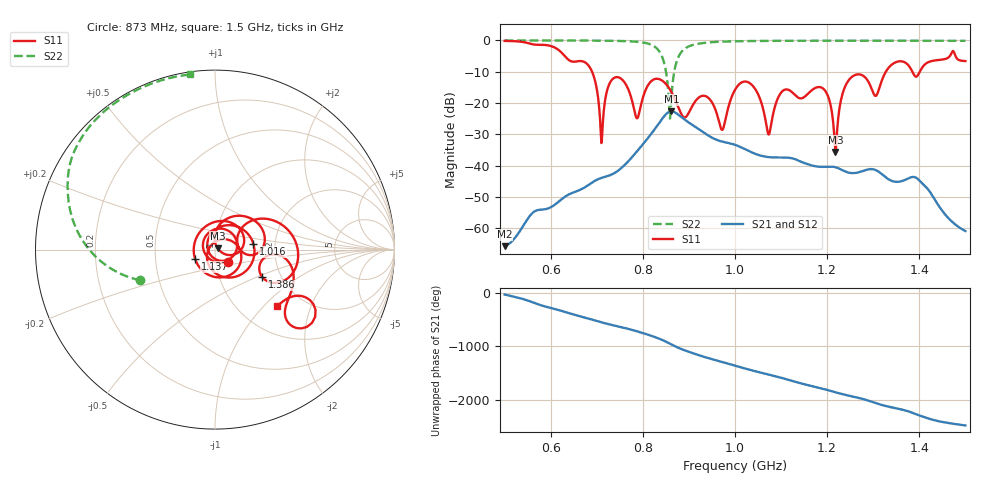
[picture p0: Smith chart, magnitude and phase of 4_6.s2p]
! TOUCHSTONE file generated by CST MICROWAVE STUDIO
! Date and time: Tue Nov 17 07:10:09 2020
! Project name: Scenario_1_Planar_Body_Tissue_Out_of_Line.cst
! Header version: 2018
! Port assignment regex: !\s*Touchstone port\s*([0-9]+)\s*=\s*(CST MWS port|CST DS port)\s*([0-9]+|Zmin|Zmax)\s*\(\"(.*)\"\)(\s*mode\s*([0-9]+))?.*
! Touchstone port assignment:
! Touchstone port 1 = CST MWS port 1 ("")
! Touchstone port 2 = CST MWS port 2 ("")
# GHz S DB R 50
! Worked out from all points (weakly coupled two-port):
!   1003 points, 500 MHz to 1.5 GHz, reference 50 ohm
!   highest |S21| = -22.67 dB at 862 MHz (marker M1); lowest = -65.7 dB at 500 MHz (marker M2)
!   lowest |S11| = -35.7 dB at 1.218 GHz (marker M3), VSWR 1.03, Z = 51.5 + j0.786 ohm
!   |S11| at or under -10 dB: 689.8 MHz to 1.327 GHz (637.5 MHz wide, 63.2 % of centre); 1.385 GHz to 1.401 GHz (16.12 MHz wide, 1.16 % of centre)
!   |S22| runs from -25.0 to 0.0 dB; largest |S21 - S12| = 4.9e-06
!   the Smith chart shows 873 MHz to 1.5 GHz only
!   S11 on the Smith chart (normalised r, x): 873 MHz: 1.15, -0.16; 1.016 GHz: 1.54, +0.10; 1.137 GHz: 0.80, -0.08; 1.386 GHz: 1.60, -0.54; 1.5 GHz: 1.49, -1.20
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0.5  -0.15 -121.7  -65.72 -29.4  -65.72 -29.4  -0.01 151.2
0.594  -1.57 -171.9  -53.68 92.8  -53.68 92.8  -0.02 144.6
0.667  -6.62 144.9  -47.50 -83.6  -47.50 -83.6  -0.04 138.4
0.71  -32.79 130.1  -43.93 171.9  -43.93 171.9  -0.08 133.7
0.736  -12.12 166.3  -42.56 115.0  -42.56 115.0  -0.12 130.0
0.787  -24.87 129.7  -35.48 3.5  -35.49 3.5  -0.42 118.2
0.834  -12.31 83.5  -26.67 -130.3  -26.67 -130.3  -3.17 85.2
0.862  -16.48 -2.7  -22.67 115.9  -22.67 115.9  -18.31 -115.3
0.873  -19.94 -42.6  -23.30 69.5  -23.30 69.5  -6.92 -157.7
0.972  -28.58 -152.7  -32.30 149.5  -32.30 149.5  -0.38 144.7
1  -15.79 56.7  -33.34 79.6  -33.34 79.6  -0.27 140.4
1.016  -13.30 8.6  -34.33 39.5  -34.33 39.5  -0.23 138.3
1.073  -30.05 145.9  -37.28 -85.8  -37.28 -85.8  -0.15 132.3
1.101  -16.50 -12.3  -37.38 -148.4  -37.38 -148.4  -0.12 129.7
1.137  -18.25 -155.3  -38.34 122.3  -38.34 122.3  -0.11 126.7
1.167  -15.86 81.0  -39.94 56.3  -39.94 56.3  -0.10 124.3
1.199  -16.89 -1.3  -40.35 -11.6  -40.35 -11.6  -0.09 121.8
1.218  -35.66 27.6  -40.51 -58.1  -40.51 -58.1  -0.09 120.4
1.248  -12.48 52.4  -42.27 -124.1  -42.26 -124.1  -0.09 118.1
1.334  -8.62 25.4  -44.42 30.7  -44.42 30.7  -0.09 111.6
1.386  -10.32 -30.2  -43.60 -85.4  -43.60 -85.4  -0.09 107.6
1.5  -6.60 -42.1  -60.89 40.6  -60.89 40.5  -0.13 98.1
